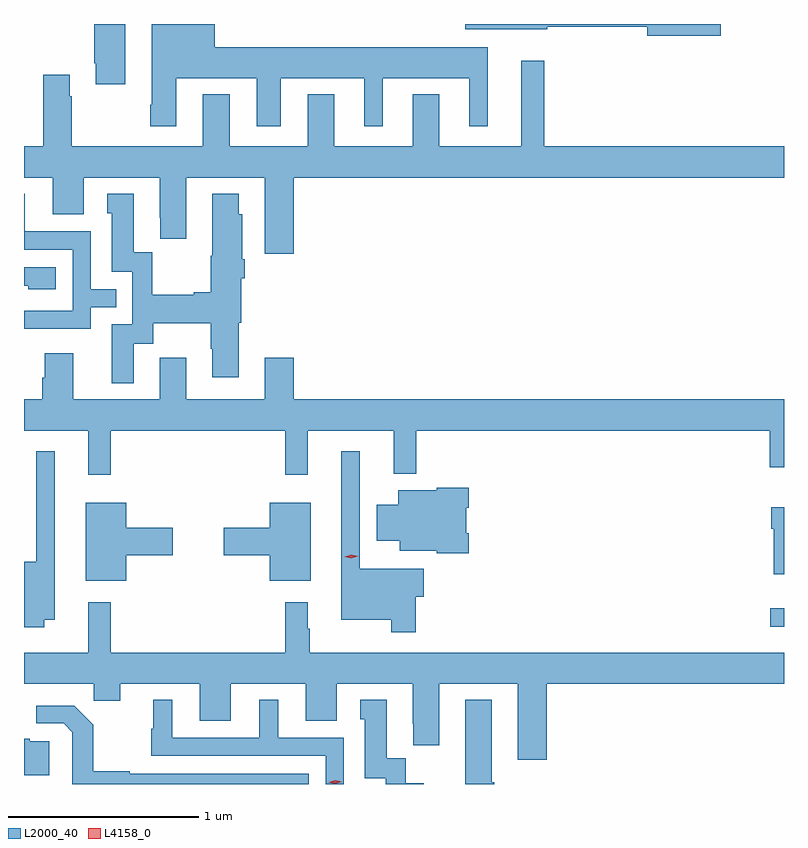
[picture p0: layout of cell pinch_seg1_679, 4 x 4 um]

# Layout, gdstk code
import gdstk
lib = gdstk.Library(unit=1e-6, precision=1e-09)
def R(c, l, rs):  # rectangles x0, y0, x1, y1
    for r in rs: c.add(gdstk.rectangle(r[:2], r[2:], *l))
def P(c, l, *ps):  # polygons
    for p in ps: c.add(gdstk.Polygon(p, *l))
L2000_40 = (2000, 40)
L4158_0 = (4158, 0)

pinch_seg1_679 = lib.new_cell('pinch_seg1_679')
R(pinch_seg1_679, L2000_40, [(653.505,570.68,653.577,570.777)])
P(pinch_seg1_679, L2000_40, [(653.245,573.852),(651.9,573.852),(651.9,573.824),(652.33,573.824),(652.33,573.838),(652.856,573.838),(652.856,573.791),(653.245,573.791)],
  [(650.11,573.852),(649.948,573.852),(649.948,573.646),(649.955,573.646),(649.955,573.534),(650.11,573.534)],
  [(650.377,573.566),(650.801,573.566),(650.801,573.315),(650.929,573.315),(650.929,573.566),(651.368,573.566),(651.368,573.315),(651.466,573.315),(651.466,573.566),(651.92,573.566),(651.92,573.315),(652.018,573.315),(652.018,573.73),(650.581,573.73),(650.581,573.852),(650.249,573.852),(650.249,573.427),(650.242,573.427),(650.242,573.315),(650.377,573.315)],
  [(650.996,573.044),(653.577,573.044),(653.577,573.208),(652.315,573.208),(652.315,573.658),(652.193,573.658),(652.193,573.208),(651.763,573.208),(651.763,573.481),(651.623,573.481),(651.623,573.208),(651.211,573.208),(651.211,573.481),(651.071,573.481),(651.071,573.208),(650.659,573.208),(650.659,573.481),(650.519,573.481),(650.519,573.208),(649.827,573.208),(649.827,573.473),(649.819,573.473),(649.819,573.586),(649.679,573.586),(649.679,573.208),(649.577,573.208),(649.577,573.044),(649.727,573.044),(649.727,572.85),(649.891,572.85),(649.891,573.044),(650.291,573.044),(650.291,572.833),(650.294,572.833),(650.294,572.721),(650.431,572.721),(650.431,573.044),(650.843,573.044),(650.843,572.643),(650.996,572.643)],
  [(650.155,572.17),(650.257,572.17),(650.257,572.276),(650.56,572.276),(650.56,572.142),(650.567,572.142),(650.567,571.992),(650.707,571.992),(650.707,572.28),(650.72,572.28),(650.72,572.514),(650.738,572.514),(650.738,572.614),(650.725,572.614),(650.725,572.85),(650.707,572.85),(650.707,572.959),(650.567,572.959),(650.567,572.633),(650.56,572.633),(650.56,572.441),(650.471,572.441),(650.471,572.428),(650.253,572.428),(650.253,572.651),(650.155,572.651),(650.155,572.959),(650.015,572.959),(650.015,572.856),(650.039,572.856),(650.039,572.547),(650.148,572.547),(650.148,572.271),(650.039,572.271),(650.039,571.962),(650.155,571.962)],
  [(649.929,572.361),(650.063,572.361),(650.063,572.457),(649.929,572.457),(649.929,572.76),(649.582,572.76),(649.582,572.959),(649.577,572.959),(649.577,572.664),(649.833,572.664),(649.833,572.343),(649.577,572.343),(649.577,572.247),(649.929,572.247)],
  [(649.744,572.571),(649.577,572.571),(649.577,572.474),(649.599,572.474),(649.599,572.456),(649.744,572.456)],
  [(650.033,571.712),(650.953,571.712),(650.953,571.479),(651.071,571.479),(651.071,571.712),(651.524,571.712),(651.524,571.484),(651.641,571.484),(651.641,571.712),(653.501,571.712),(653.501,571.518),(653.577,571.518),(653.577,571.876),(650.996,571.876),(650.996,572.095),(650.843,572.095),(650.843,571.876),(650.431,571.876),(650.431,572.095),(650.291,572.095),(650.291,571.876),(649.837,571.876),(649.837,572.119),(649.685,572.119),(649.685,571.989),(649.673,571.989),(649.673,571.876),(649.577,571.876),(649.577,571.712),(649.916,571.712),(649.916,571.479),(650.033,571.479)],
  [(651.638,570.838),(651.682,570.838),(651.682,570.985),(651.345,570.985),(651.345,571.603),(651.248,571.603),(651.248,570.716),(651.51,570.716),(651.51,570.651),(651.638,570.651)],
  [(649.684,570.716),(649.738,570.716),(649.738,571.603),(649.641,571.603),(649.641,571.021),(649.577,571.021),(649.577,570.677),(649.684,570.677)],
  [(651.917,571.171),(651.904,571.171),(651.904,571.307),(651.917,571.307),(651.917,571.411),(651.75,571.411),(651.75,571.399),(651.548,571.399),(651.548,571.321),(651.434,571.321),(651.434,571.133),(651.554,571.133),(651.554,571.079),(651.75,571.079),(651.75,571.067),(651.917,571.067)],
  [(651.085,571.333),(650.87,571.333),(650.87,571.202),(650.628,571.202),(650.628,571.055),(650.87,571.055),(650.87,570.923),(651.085,570.923)],
  [(650.116,571.055),(650.359,571.055),(650.359,571.202),(650.116,571.202),(650.116,571.333),(649.901,571.333),(649.901,570.923),(650.116,570.923)],
  [(653.577,571.309),(653.51,571.309),(653.51,571.196),(653.522,571.196),(653.522,570.956),(653.577,570.956)],
  [(650.953,570.808),(650.953,570.544),(650.033,570.544),(650.033,570.808),(649.915,570.808),(649.915,570.544),(649.577,570.544),(649.577,570.38),(649.945,570.38),(649.945,570.29),(650.083,570.29),(650.083,570.38),(650.501,570.38),(650.501,570.186),(650.665,570.186),(650.665,570.38),(651.059,570.38),(651.059,570.186),(651.223,570.186),(651.223,570.38),(651.623,570.38),(651.623,570.169),(651.626,570.169),(651.626,570.057),(651.763,570.057),(651.763,570.38),(652.175,570.38),(652.175,569.979),(652.328,569.979),(652.328,570.38),(653.577,570.38),(653.577,570.544),(651.082,570.544),(651.082,570.668),(651.07,570.668),(651.07,570.808)],
  [(651.261,570.096),(650.914,570.096),(650.914,570.295),(650.816,570.295),(650.816,570.096),(650.356,570.096),(650.356,570.295),(650.258,570.295),(650.258,570.144),(650.247,570.144),(650.247,570),(651.165,570),(651.165,569.852),(651.261,569.852)],
  [(652.052,569.86),(652.039,569.86),(652.039,570.295),(651.899,570.295),(651.899,569.852),(652.052,569.852)],
  [(651.682,569.857),(651.585,569.857),(651.585,569.987),(651.487,569.987),(651.487,570.295),(651.347,570.295),(651.347,570.192),(651.371,570.192),(651.371,569.883),(651.48,569.883),(651.48,569.852),(651.682,569.852)],
  [(651.076,569.907),(650.133,569.907),(650.133,569.92),(649.941,569.92),(649.941,570.165),(649.841,570.265),(649.641,570.265),(649.641,570.171),(649.785,570.171),(649.832,570.124),(649.832,570.029),(649.83,570.029),(649.83,569.852),(651.076,569.852)],
  [(649.711,570.078),(649.607,570.078),(649.607,570.091),(649.577,570.091),(649.577,569.898),(649.711,569.898)])
P(pinch_seg1_679, L4158_0, [(651.3,571.039),(651.264,571.047),(651.264,571.048),(651.264,571.048),(651.299,571.059),(651.334,571.051),(651.335,571.051),(651.334,571.051)],
  [(651.216,569.853),(651.181,569.86),(651.18,569.861),(651.181,569.861),(651.214,569.873),(651.249,569.865),(651.25,569.865),(651.249,569.864)])

lib.write_gds('pinch_seg1_679.gds')
